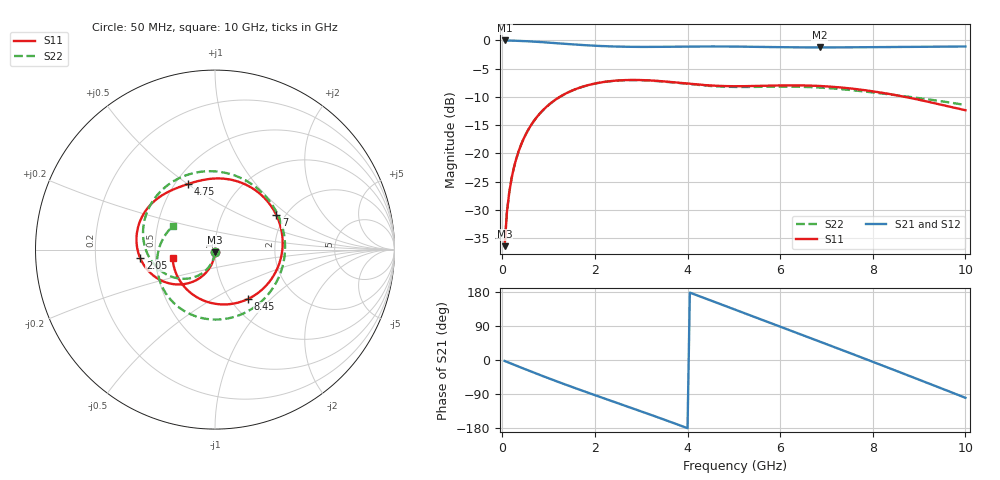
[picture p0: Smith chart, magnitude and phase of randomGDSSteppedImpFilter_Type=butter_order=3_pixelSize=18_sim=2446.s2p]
! freq	dB(S11)	phase(S11)	dB(S12)	phase(S12)
!  dB(S21)	phase(S21)	dB(S22)	phase(S22)
!S-par simulation data
#  GHz  S  DB  R 50
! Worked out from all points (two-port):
!   200 points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, 50 MHz to 10 GHz, reference 50 ohm
!   highest |S21| = 0.00 dB at 50 MHz (marker M1); lowest = -1.2 dB at 6.85 GHz (marker M2)
!   |S21| within 3 dB of the highest: start of sweep to end of sweep
!   lowest |S11| = -36.4 dB at 50 MHz (marker M3), VSWR 1.03, Z = 49.9 - j1.51 ohm
!   |S11| at or under -10 dB: start of sweep to 1.239 GHz; 8.7 GHz to end of sweep
!   |S22| runs from -36.4 to -7.0 dB; largest |S21 - S12| = 0
!   S11 on the Smith chart (normalised r, x): 50 MHz: 1.00, -0.03; 2.05 GHz: 0.41, -0.05; 4.75 GHz: 0.58, +0.50; 7 GHz: 1.80, +0.82; 8.45 GHz: 1.20, -0.74; 10 GHz: 0.62, -0.06
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0.05  -36.42 -92.2  -0.00 -2.5  -0.00 -2.5  -36.42 -92.7
0.1  -30.41 -94.6  -0.01 -5.0  -0.01 -5.0  -30.41 -95.6
0.2  -24.44 -99.3  -0.03 -9.9  -0.03 -9.9  -24.44 -101.2
0.5  -16.74 -112.6  -0.13 -24.5  -0.13 -24.5  -16.74 -117.5
1.1  -10.77 -137.9  -0.44 -52.9  -0.44 -52.9  -10.78 -149.1
1.75  -8.15 -162.8  -0.82 -81.9  -0.82 -81.9  -8.16 177.7
2.05  -7.55 -173.5  -0.96 -94.9  -0.96 -94.9  -7.56 162.4
2.7  -7.01 165.1  -1.12 -122.7  -1.12 -122.7  -7.03 128.3
3.4  -7.19 144.7  -1.13 -153.1  -1.13 -153.1  -7.23 88.2
4.1  -7.72 127.1  -1.08 175.5  -1.08 175.5  -7.79 43.4
4.75  -8.07 112.1  -1.07 145.6  -1.07 145.6  -8.18 -0.8
5.05  -8.11 104.6  -1.09 131.8  -1.09 131.8  -8.24 -20.8
5.85  -7.98 80.0  -1.18 94.8  -1.18 94.8  -8.19 -69.1
6.25  -7.95 64.5  -1.21 76.4  -1.21 76.4  -8.18 -89.8
6.7  -8.01 44.4  -1.24 55.7  -1.24 55.7  -8.28 -110.2
6.85  -8.06 37.1  -1.24 48.8  -1.24 48.8  -8.34 -116.4
7  -8.13 29.5  -1.24 41.9  -1.24 41.9  -8.42 -122.3
7.7  -8.67 -9.4  -1.21 9.4  -1.21 9.4  -8.93 -146.8
8.35  -9.47 -50.0  -1.17 -21.2  -1.17 -21.2  -9.54 -165.9
8.45  -9.61 -56.5  -1.16 -25.9  -1.16 -25.9  -9.64 -168.7
9.25  -10.96 -111.7  -1.12 -63.8  -1.12 -63.8  -10.49 170.2
10  -12.35 -168.4  -1.07 -99.8  -1.07 -99.8  -11.43 150.6
